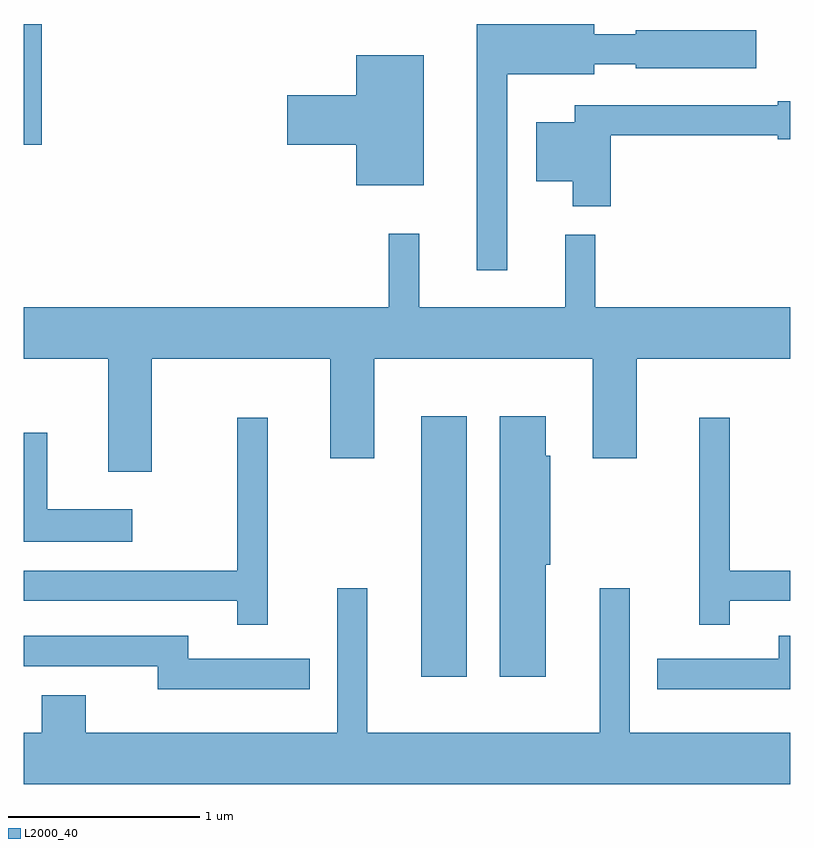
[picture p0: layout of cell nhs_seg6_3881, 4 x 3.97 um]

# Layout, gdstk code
import gdstk
lib = gdstk.Library(unit=1e-6, precision=1e-09)
def R(c, l, rs):  # rectangles x0, y0, x1, y1
    for r in rs: c.add(gdstk.rectangle(r[:2], r[2:], *l))
def P(c, l, *ps):  # polygons
    for p in ps: c.add(gdstk.Polygon(p, *l))
L2000_40 = (2000, 40)

nhs_seg6_3881 = lib.new_cell('nhs_seg6_3881')
R(nhs_seg6_3881, L2000_40, [(303.686,1612.756,303.924,1614.114), (301.611,1615.531,301.704,1616.162)])
P(nhs_seg6_3881, L2000_40, [(304.134,1615.901),(304.589,1615.901),(304.589,1615.951),(304.806,1615.951),(304.806,1615.931),(305.434,1615.931),(305.434,1616.129),(304.806,1616.129),(304.806,1616.109),(304.589,1616.109),(304.589,1616.162),(303.976,1616.162),(303.976,1614.878),(304.134,1614.878)],
  [(303.699,1615.999),(303.346,1615.999),(303.346,1615.789),(302.986,1615.789),(302.986,1615.531),(303.346,1615.531),(303.346,1615.321),(303.699,1615.321)],
  [(304.674,1615.581),(305.546,1615.581),(305.546,1615.561),(305.611,1615.561),(305.611,1615.759),(305.546,1615.759),(305.546,1615.739),(304.486,1615.739),(304.486,1615.649),(304.286,1615.649),(304.286,1615.341),(304.476,1615.341),(304.476,1615.211),(304.674,1615.211)],
  [(302.279,1614.416),(303.211,1614.416),(303.211,1613.896),(303.439,1613.896),(303.439,1614.416),(304.581,1614.416),(304.581,1613.896),(304.809,1613.896),(304.809,1614.416),(305.611,1614.416),(305.611,1614.684),(304.594,1614.684),(304.594,1615.063),(304.436,1615.063),(304.436,1614.684),(303.674,1614.684),(303.674,1615.068),(303.516,1615.068),(303.516,1614.684),(301.611,1614.684),(301.611,1614.416),(302.051,1614.416),(302.051,1613.826),(302.279,1613.826)],
  [(304.334,1613.341),(304.359,1613.341),(304.359,1613.909),(304.334,1613.909),(304.334,1614.114),(304.096,1614.114),(304.096,1612.756),(304.334,1612.756)],
  [(302.884,1614.108),(302.726,1614.108),(302.726,1613.309),(301.611,1613.309),(301.611,1613.151),(302.726,1613.151),(302.726,1613.028),(302.884,1613.028)],
  [(305.294,1613.151),(305.611,1613.151),(305.611,1613.309),(305.294,1613.309),(305.294,1614.108),(305.136,1614.108),(305.136,1613.028),(305.294,1613.028)],
  [(302.178,1613.629),(301.734,1613.629),(301.734,1614.029),(301.611,1614.029),(301.611,1613.461),(302.178,1613.461)],
  [(305.611,1612.464),(304.774,1612.464),(304.774,1613.218),(304.616,1613.218),(304.616,1612.464),(303.404,1612.464),(303.404,1613.218),(303.246,1613.218),(303.246,1612.464),(301.934,1612.464),(301.934,1612.659),(301.706,1612.659),(301.706,1612.464),(301.611,1612.464),(301.611,1612.196),(305.611,1612.196)],
  [(305.611,1612.969),(305.551,1612.969),(305.551,1612.849),(304.918,1612.849),(304.918,1612.691),(305.611,1612.691)],
  [(303.103,1612.849),(302.469,1612.849),(302.469,1612.969),(301.611,1612.969),(301.611,1612.811),(302.311,1612.811),(302.311,1612.691),(303.103,1612.691)])

lib.write_gds('nhs_seg6_3881.gds')
